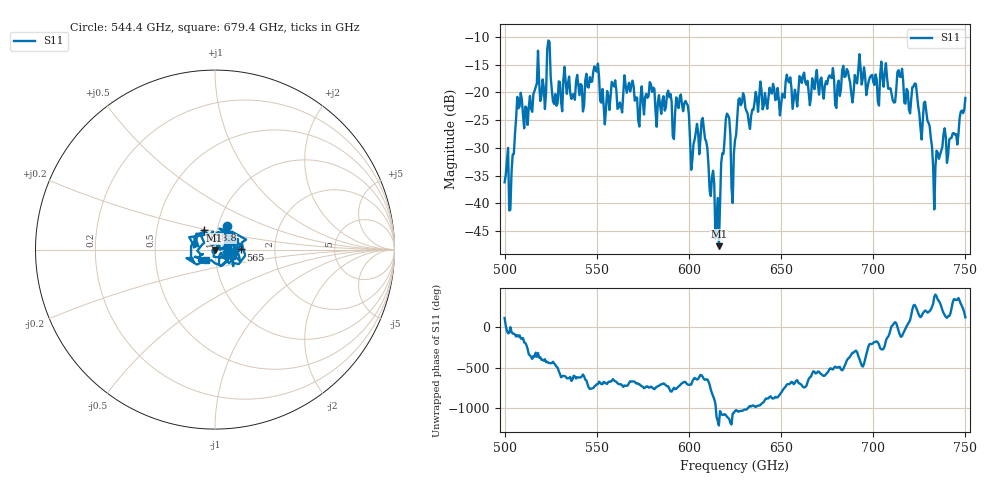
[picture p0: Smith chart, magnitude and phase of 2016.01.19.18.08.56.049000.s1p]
!Created with skrf (http://scikit-rf.org).
# GHz S RI R 50.0
!freq ReS11 ImS11
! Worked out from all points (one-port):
!   401 points, 500 GHz to 750 GHz, reference 50 ohm
!   lowest |S11| = -47.8 dB at 616.2 GHz (marker M1), VSWR 1.01, Z = 49.7 - j0.313 ohm
!   |S11| at or under -10 dB: start of sweep to end of sweep
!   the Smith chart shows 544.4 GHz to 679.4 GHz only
!   S11 on the Smith chart (normalised r, x): 544.4 GHz: 1.10, +0.30; 565 GHz: 1.33, +0.00; 638.8 GHz: 0.86, +0.19; 679.4 GHz: 0.90, -0.11
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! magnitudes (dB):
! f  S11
! 500 GHz  -36.2
! 503.8 GHz  -34.4
! 508.1 GHz  -22.5
! 520.6 GHz  -17.6
! 524.4 GHz  -10.9
! 527.5 GHz  -20.3
! 531.2 GHz  -23.4
! 544.4 GHz  -16.6
! 549.4 GHz  -16.0
! 562.5 GHz  -21.8
! 565 GHz  -16.9
! 593.8 GHz  -22.2
! 598.8 GHz  -22.0
! 601.9 GHz  -32.1
! 608.1 GHz  -26.6
! 616.2 GHz  -47.8
! 620.6 GHz  -23.8
! 625 GHz  -28.6
! 628.1 GHz  -22.3
! 638.8 GHz  -18.0
! 656.2 GHz  -23.0
! 679.4 GHz  -22.3
! 687.5 GHz  -18.3
! 714.4 GHz  -17.1
! 718.8 GHz  -19.7
! 728.8 GHz  -23.3
! 733.8 GHz  -33.4
! 750 GHz  -21.0
